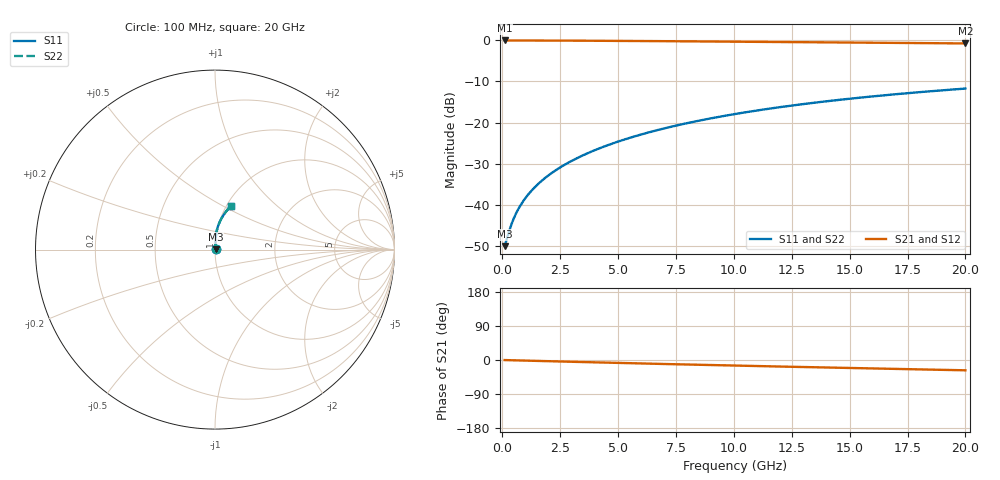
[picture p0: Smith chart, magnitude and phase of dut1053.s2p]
! Touchstone file exported from HFSS 2024.1.0
!  File:  C:/UserFiles/LocalFiles/RDL_TSV_Batchsim/temp_RDL_top_1053_1780044566.aedt
!  Generated:  04:51:43 PM May 29, 2026
!  Design:  RDL_top
!  Project:  temp_RDL_top_1053_1780044566
!  Setup:  Setup1
!  Solution:  Sweep
! Variables:
!  dtsv = 10.80580581um
!  hbump = 3um
!  htsv = 98.1um
!  ldown = 100um
!  lrdl = 365.63um
!  p = 40
!  p1 = 46.9um
!  rhole = 1um
!  t = 450um
!  tdown = 3.915915916um
!  trdl = 2.19um
!  wdown = 15.38538539um
!  wrdl = 23.61um
# GHz S MA R 50.000000
! Terminal data exported
! Port[1] = Box2_T1
! Port[2] = Box2_T2
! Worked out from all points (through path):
!   200 points, 100 MHz to 20 GHz, reference 50 ohm
!   highest |S21| = -0.02 dB at 100 MHz (marker M1); lowest = -0.8 dB at 20 GHz (marker M2)
!   group delay of S21, straight-line fit = 3.74 ps
!   lowest |S11| = -50.1 dB at 100 MHz (marker M3), VSWR 1.01, Z = 50.3 + j0.128 ohm
!   |S11| at or under -10 dB: start of sweep to end of sweep
!   |S22| runs from -50.1 to -11.7 dB; largest |S21 - S12| = 2.6e-15
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0.1  0.003134 23.9  0.9971 -0.2  0.9971 -0.2  0.003134 23.9
! Gamma 0 0 0 0
! Port Impedance 50 0 50 0
0.3  0.004807 50.9  0.9969 -0.5  0.9969 -0.5  0.004807 50.9
0.4  0.005822 57.3  0.9968 -0.7  0.9968 -0.7  0.005821 57.3
0.6  0.007897 65.0  0.9965 -1.0  0.9965 -1.0  0.007897 65.0
0.7  0.008937 67.6  0.9963 -1.1  0.9963 -1.1  0.008936 67.6
0.9  0.01102 71.4  0.996 -1.5  0.996 -1.5  0.01102 71.4
1.2  0.01417 75.3  0.9956 -1.9  0.9956 -1.9  0.01417 75.3
1.4  0.0163 77.2  0.9953 -2.2  0.9953 -2.2  0.0163 77.2
1.7  0.01954 79.4  0.9948 -2.7  0.9948 -2.7  0.01954 79.4
2.2  0.02507 81.9  0.9938 -3.5  0.9938 -3.5  0.02507 81.9
2.8  0.0319 83.8  0.9924 -4.4  0.9924 -4.4  0.0319 83.9
3.5  0.04013 85.2  0.9904 -5.5  0.9904 -5.5  0.04014 85.2
4.2  0.04863 86.0  0.9882 -6.5  0.9882 -6.5  0.04864 86.0
5  0.05867 86.4  0.9853 -7.7  0.9853 -7.7  0.05868 86.4
5.9  0.07031 86.4  0.9818 -9.0  0.9818 -9.0  0.07033 86.4
6.8  0.08227 86.0  0.9781 -10.3  0.9781 -10.3  0.08229 86.0
8.4  0.1041 84.8  0.9711 -12.5  0.9711 -12.5  0.1041 84.8
10.1  0.1277 82.9  0.9634 -14.8  0.9634 -14.8  0.1277 83.0
11.7  0.1499 80.9  0.9561 -16.9  0.9561 -16.9  0.15 81.0
13.4  0.1733 78.7  0.9482 -19.1  0.9482 -19.1  0.1734 78.7
16.7  0.2174 74.2  0.9328 -23.2  0.9328 -23.2  0.2175 74.2
20  0.259 69.7  0.9172 -27.2  0.9172 -27.2  0.2592 69.7
